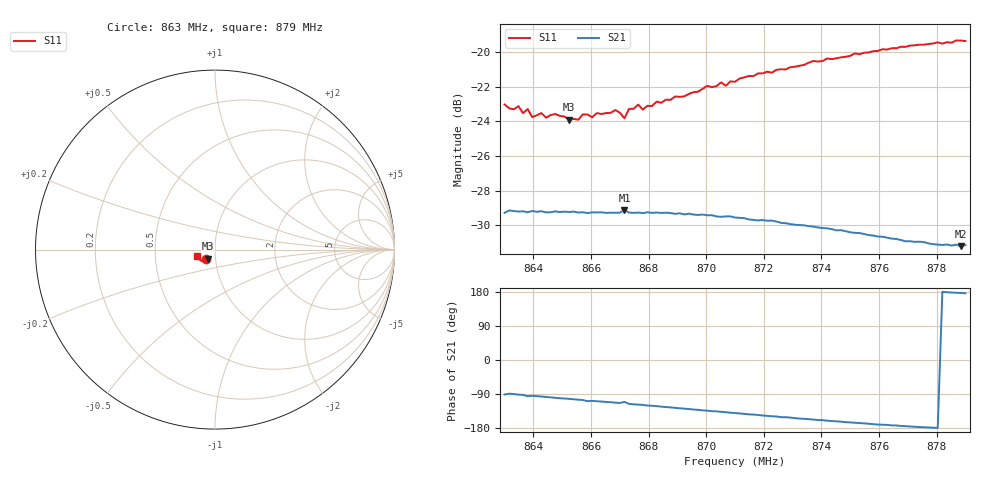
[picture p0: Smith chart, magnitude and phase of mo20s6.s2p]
# HZ S RI R 50
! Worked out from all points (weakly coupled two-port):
!   101 points, 863 MHz to 879 MHz, reference 50 ohm
!   highest |S21| = -29.13 dB at 867.16 MHz (marker M1); lowest = -31.2 dB at 878.84 MHz (marker M2)
!   lowest |S11| = -23.9 dB at 865.24 MHz (marker M3), VSWR 1.14, Z = 46 - j4.64 ohm
!   |S11| at or under -10 dB: start of sweep to end of sweep
!   S12 and S22 are empty: the file has one direction only
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8.63e8  -0.0493 -0.0506  -0.000574 -0.0343  0 0  0 0
8.6332e8  -0.0478 -0.0489  2.3e-05 -0.0347  0 0  0 0
8.6348e8  -0.0491 -0.0497  -0.000835 -0.0346  0 0  0 0
8.6364e8  -0.0443 -0.0499  -0.0013 -0.0347  0 0  0 0
8.638e8  -0.047 -0.0499  -0.00325 -0.0343  0 0  0 0
8.6396e8  -0.0412 -0.0502  -0.00272 -0.0347  0 0  0 0
8.6476e8  -0.0424 -0.051  -0.00593 -0.0342  0 0  0 0
8.6524e8  -0.0394 -0.0502  -0.00753 -0.0337  0 0  0 0
8.6572e8  -0.0393 -0.0532  -0.00932 -0.0332  0 0  0 0
8.6604e8  -0.0385 -0.0522  -0.0106 -0.0328  0 0  0 0
8.6684e8  -0.0385 -0.0561  -0.0131 -0.0317  0 0  0 0
8.6716e8  -0.0326 -0.0556  -0.0123 -0.0327  0 0  0 0
8.6732e8  -0.0387 -0.0566  -0.015 -0.031  0 0  0 0
8.6764e8  -0.0405 -0.0578  -0.016 -0.0305  0 0  0 0
8.678e8  -0.0382 -0.0565  -0.0164 -0.0301  0 0  0 0
8.6844e8  -0.0394 -0.0596  -0.0187 -0.0288  0 0  0 0
8.7004e8  -0.0452 -0.066  -0.0233 -0.0244  0 0  0 0
8.71e8  -0.0497 -0.0654  -0.0255 -0.0213  0 0  0 0
8.7372e8  -0.0681 -0.0653  -0.0289 -0.0122  0 0  0 0
8.7644e8  -0.0878 -0.0532  -0.0287 -0.00373  0 0  0 0
8.7884e8  -0.1026 -0.0341  -0.0275 0.00151  0 0  0 0
8.79e8  -0.1025 -0.0332  -0.0276 0.00187  0 0  0 0
